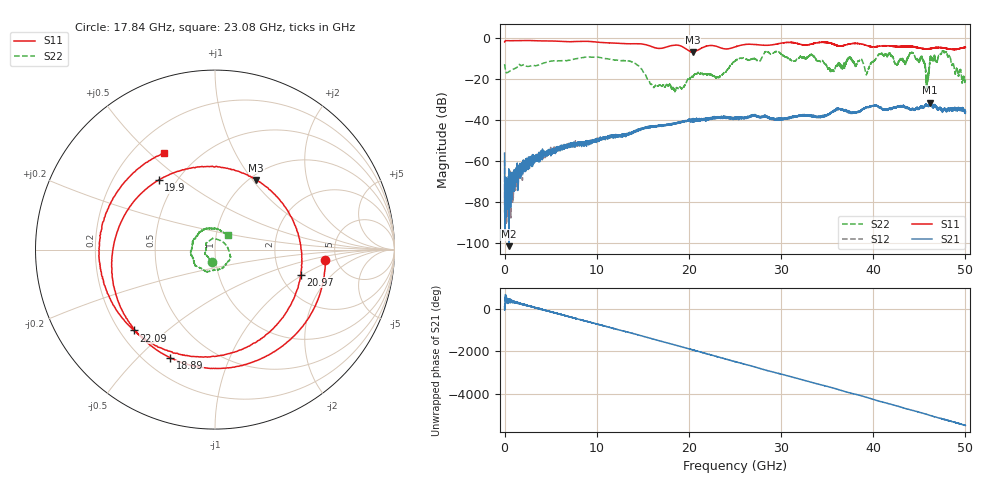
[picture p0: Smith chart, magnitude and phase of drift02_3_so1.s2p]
!Created with skrf (http://scikit-rf.org).
# Hz S RI R 50.0
!freq ReS11 ImS11 ReS21 ImS21 ReS12 ImS12 ReS22 ImS22
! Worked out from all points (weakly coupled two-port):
!   10001 points, 300 kHz to 50 GHz, reference 50 ohm
!   highest |S21| = -31.53 dB at 46.19 GHz (marker M1); lowest = -101.4 dB at 475.3 MHz (marker M2)
!   lowest |S11| = -6.9 dB at 20.4 GHz (marker M3), VSWR 2.64, Z = 53.5 + j52 ohm
!   |S11| at or under -10 dB: nowhere
!   |S22| runs from -26.2 to -6.3 dB; largest |S21 - S12| = 0.003
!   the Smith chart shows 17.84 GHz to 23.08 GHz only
!   S11 on the Smith chart (normalised r, x): 17.84 GHz: 4.08, -0.76; 18.89 GHz: 0.30, -0.63; 19.9 GHz: 0.40, +0.41; 20.97 GHz: 2.57, -0.95; 22.09 GHz: 0.26, -0.39; 23.08 GHz: 0.32, +0.56
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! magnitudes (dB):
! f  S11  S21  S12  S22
! 300 kHz  -2.1  -56.1  -59.5  -12.8
! 475.3 MHz  -1.4  -101.4  -72.6  -16.5
! 2.91 GHz  -1.4  -58.5  -58.9  -13.6
! 8.335 GHz  -1.7  -50.9  -51.6  -9.8
! 13.7 GHz  -3.0  -46.6  -46.0  -11.6
! 16.67 GHz  -5.2  -42.6  -43.0  -23.4
! 17.84 GHz  -4.2  -42.4  -42.1  -23.1
! 18.89 GHz  -3.7  -41.2  -41.4  -24.5
! 19.9 GHz  -6.0  -40.4  -40.3  -20.1
! 20.4 GHz  -6.9  -39.6  -40.2  -19.0
! 20.97 GHz  -6.1  -39.9  -40.0  -17.0
! 22.09 GHz  -3.9  -39.3  -39.4  -17.6
! 23.08 GHz  -4.3  -38.5  -38.8  -19.3
! 25 GHz  -4.5  -39.0  -38.9  -11.4
! 33.34 GHz  -3.1  -37.9  -37.9  -8.3
! 39.31 GHz  -3.8  -33.9  -33.7  -17.6
! 41.67 GHz  -4.0  -34.6  -34.7  -7.9
! 44.24 GHz  -4.3  -34.5  -34.7  -7.3
! 45.84 GHz  -5.4  -33.0  -33.0  -21.7
! 46.19 GHz  -5.3  -31.5  -31.9  -9.9
! 47.75 GHz  -5.0  -34.5  -34.7  -6.8
! 50 GHz  -4.7  -35.9  -36.2  -20.4
